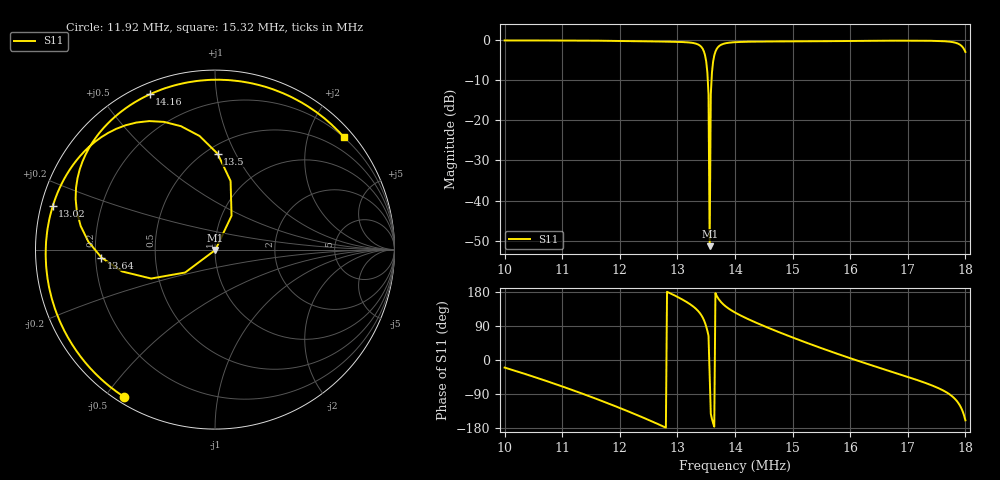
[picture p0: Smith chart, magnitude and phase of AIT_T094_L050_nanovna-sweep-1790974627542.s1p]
! NanoVNA Web complex sweep
! Processing: original sample grid, no browser smoothing
# Hz S RI R 50
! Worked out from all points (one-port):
!   401 points, 10 MHz to 18 MHz, reference 50 ohm
!   lowest |S11| = -51.3 dB at 13.56 MHz (marker M1), VSWR 1.01, Z = 50.2 - j0.186 ohm
!   |S11| at or under -10 dB: 13.52687 MHz to 13.5932 MHz (66.34 kHz wide, 0.489 % of centre)
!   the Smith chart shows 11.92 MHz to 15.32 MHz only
!   S11 on the Smith chart (normalised r, x): 11.92 MHz: 0.02, -0.56; 13.02 MHz: 0.03, +0.13; 13.5 MHz: 0.57, +0.85; 13.64 MHz: 0.22, -0.03; 14.16 MHz: 0.05, +0.66; 15.32 MHz: 0.19, +2.65
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1e7  0.9171 -0.3325
1.1e7  0.3372 -0.9134
1.146e7  -0.0844 -0.967
1.192e7  -0.5079 -0.8193
1.2e7  -0.5741 -0.7724
1.254e7  -0.8973 -0.3122
1.3e7  -0.9112 0.217
1.302e7  -0.9042 0.2418
1.332e7  -0.6341 0.626
1.344e7  -0.2838 0.7116
1.35e7  0.0146 0.5343
1.352e7  0.0869 0.3822
1.356e7  0.00198 -0.00185
1.36e7  -0.3558 -0.1612
1.362e7  -0.5172 -0.1219
1.364e7  -0.6324 -0.0445
1.374e7  -0.7743 0.3439
1.4e7  -0.5375 0.757
1.416e7  -0.3637 0.8649
1.456e7  0.0661 0.9448
1.5e7  0.4836 0.8189
1.532e7  0.7173 0.6278
1.6e7  0.9569 0.0806
1.7e7  0.6898 -0.6822
1.744e7  0.3567 -0.8965
1.774e7  -0.0356 -0.9387
1.788e7  -0.3611 -0.8084
1.8e7  -0.6566 -0.2487
